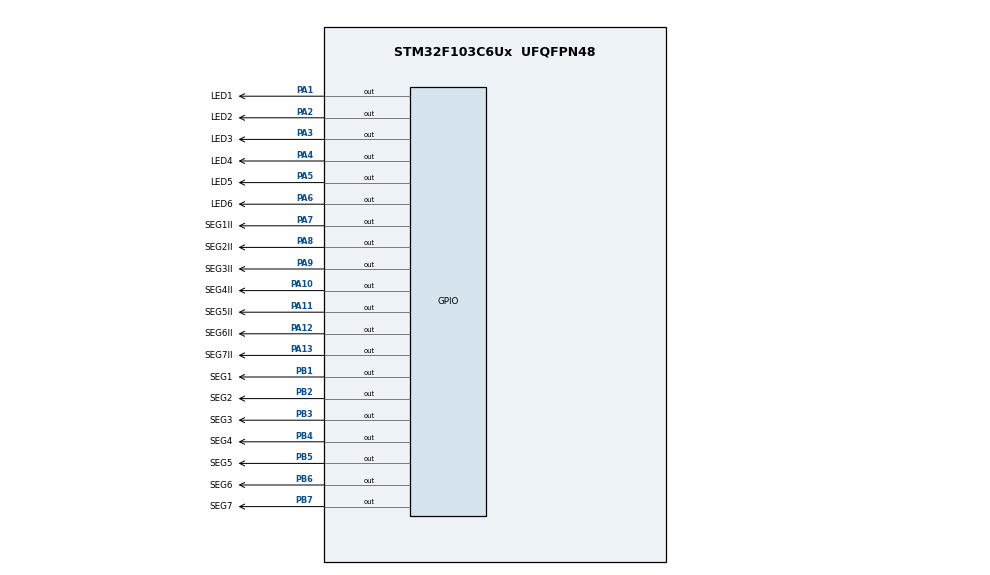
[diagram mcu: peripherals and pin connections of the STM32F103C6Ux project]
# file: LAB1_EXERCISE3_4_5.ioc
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Mcu.Family=STM32F1
Mcu.Name=STM32F103C6Ux
Mcu.Package=UFQFPN48
NVIC.PriorityGroup=NVIC_PRIORITYGROUP_4
PA1.GPIO_Label=LED1
PA1.Signal=GPIO_Output
PA10.GPIO_Label=SEG4II
PA10.Signal=GPIO_Output
PA11.GPIO_Label=SEG5II
PA11.Signal=GPIO_Output
PA12.GPIO_Label=SEG6II
PA12.Signal=GPIO_Output
PA13.GPIO_Label=SEG7II
PA13.Signal=GPIO_Output
PA2.GPIO_Label=LED2
PA2.Signal=GPIO_Output
PA3.GPIO_Label=LED3
PA3.Signal=GPIO_Output
PA4.GPIO_Label=LED4
PA4.Signal=GPIO_Output
PA5.GPIO_Label=LED5
PA5.Signal=GPIO_Output
PA6.GPIO_Label=LED6
PA6.Signal=GPIO_Output
PA7.GPIO_Label=SEG1II
PA7.Signal=GPIO_Output
PA8.GPIO_Label=SEG2II
PA8.Signal=GPIO_Output
PA9.GPIO_Label=SEG3II
PA9.Signal=GPIO_Output
PB1.GPIO_Label=SEG1
PB1.Signal=GPIO_Output
PB2.GPIO_Label=SEG2
PB2.Signal=GPIO_Output
PB3.GPIO_Label=SEG3
PB3.Signal=GPIO_Output
PB4.GPIO_Label=SEG4
PB4.Signal=GPIO_Output
PB5.GPIO_Label=SEG5
PB5.Signal=GPIO_Output
PB6.GPIO_Label=SEG6
PB6.Signal=GPIO_Output
PB7.GPIO_Label=SEG7
PB7.Signal=GPIO_Output
ProjectManager.HeapSize=0x200
ProjectManager.StackSize=0x400
ProjectManager.TargetToolchain=STM32CubeIDE
RCC.APB1Freq_Value=8000000
RCC.APB2Freq_Value=8000000
VP_SYS_VS_ND.Mode=No_Debug
board=custom

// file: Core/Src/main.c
/* USER CODE BEGIN Header */
/**
  ******************************************************************************
  * @file           : main.c
  * @brief          : Main program body
  ******************************************************************************
  * @attention
  *
  * <h2><center>&copy; Copyright (c) 2024 STMicroelectronics.
  * All rights reserved.</center></h2>
  *
  * This software component is licensed by ST under BSD 3-Clause license,
  * the "License"; You may not use this file except in compliance with the
  * License. You may obtain a copy of the License at:
  *                        opensource.org/licenses/BSD-3-Clause
  *
  ******************************************************************************
  */
/* USER CODE END Header */
#include "main.h"

void SystemClock_Config(void);
static void MX_GPIO_Init(void);

/* USER CODE BEGIN 0 */
const uint8_t segDigits[10] = {
    0b01000000, // 0
    0b01111001, // 1
    0b00100100, // 2
    0b00110000, // 3
    0b00011001, // 4
    0b00010010, // 5
    0b00000010, // 6
    0b01111000, // 7
    0b00000000, // 8
    0b00010000  // 9
};
void display7SEG(int num) {
    HAL_GPIO_WritePin(SEG1_GPIO_Port, SEG1_Pin, (segDigits[num] & 0x01) ? 1 : 0);
    HAL_GPIO_WritePin(SEG2_GPIO_Port, SEG2_Pin, (segDigits[num] & 0x02) ? 1 : 0);
    HAL_GPIO_WritePin(SEG3_GPIO_Port, SEG3_Pin, (segDigits[num] & 0x04) ? 1 : 0);
    HAL_GPIO_WritePin(SEG4_GPIO_Port, SEG4_Pin, (segDigits[num] & 0x08) ? 1 : 0);
    HAL_GPIO_WritePin(SEG5_GPIO_Port, SEG5_Pin, (segDigits[num] & 0x10) ? 1 : 0);
    HAL_GPIO_WritePin(SEG6_GPIO_Port, SEG6_Pin, (segDigits[num] & 0x20) ? 1 : 0);
    HAL_GPIO_WritePin(SEG7_GPIO_Port, SEG7_Pin, (segDigits[num] & 0x40) ? 1 : 0);
}
void display7SEGII(int num) {
    HAL_GPIO_WritePin(SEG1II_GPIO_Port, SEG1II_Pin, (segDigits[num] & 0x01) ? 1 : 0);
    HAL_GPIO_WritePin(SEG2II_GPIO_Port, SEG2II_Pin, (segDigits[num] & 0x02) ? 1 : 0);
    HAL_GPIO_WritePin(SEG3II_GPIO_Port, SEG3II_Pin, (segDigits[num] & 0x04) ? 1 : 0);
    HAL_GPIO_WritePin(SEG4II_GPIO_Port, SEG4II_Pin, (segDigits[num] & 0x08) ? 1 : 0);
    HAL_GPIO_WritePin(SEG5II_GPIO_Port, SEG5II_Pin, (segDigits[num] & 0x10) ? 1 : 0);
    HAL_GPIO_WritePin(SEG6II_GPIO_Port, SEG6II_Pin, (segDigits[num] & 0x20) ? 1 : 0);
    HAL_GPIO_WritePin(SEG7II_GPIO_Port, SEG7II_Pin, (segDigits[num] & 0x40) ? 1 : 0);
}

/* USER CODE END 0 */

int main(void)
{

  /* MCU Configuration--------------------------------------------------------*/

  /* Reset of all peripherals, Initializes the Flash interface and the Systick. */
  HAL_Init();

  /* Configure the system clock */
  SystemClock_Config();

  /* Initialize all configured peripherals */
  MX_GPIO_Init();

  /* Infinite loop */
  /* USER CODE BEGIN WHILE */
  int ledStatus = 1;
  int count = 10;
  /*int counter = 0;*/
  int redcounter = 5;
  int greencounter = 3;
  int yellowcounter = 2;
  while (1)
  {
	  switch (ledStatus){
	  case 1:
		  display7SEG(redcounter--);
		  HAL_GPIO_WritePin(LED1_GPIO_Port, LED1_Pin, GPIO_PIN_SET);//red
		  HAL_GPIO_WritePin(LED2_GPIO_Port, LED2_Pin, GPIO_PIN_RESET);//yellow
		  HAL_GPIO_WritePin(LED3_GPIO_Port, LED3_Pin, GPIO_PIN_RESET);//green

		  display7SEGII(greencounter--);
		  HAL_GPIO_WritePin(LED4_GPIO_Port, LED4_Pin, GPIO_PIN_RESET);//red
		  HAL_GPIO_WritePin(LED5_GPIO_Port, LED5_Pin, GPIO_PIN_RESET);//yellow
		  HAL_GPIO_WritePin(LED6_GPIO_Port, LED6_Pin, GPIO_PIN_SET);//green
		  count--;
		  if(count <= 7){
			  ledStatus = 2;
			  greencounter = 3;
		  }

		  break;
	  case 2:
		  display7SEG(redcounter--);
		  HAL_GPIO_WritePin(LED1_GPIO_Port, LED1_Pin, GPIO_PIN_SET);//red
		  HAL_GPIO_WritePin(LED2_GPIO_Port, LED2_Pin, GPIO_PIN_RESET);//yellow
		  HAL_GPIO_WritePin(LED3_GPIO_Port, LED3_Pin, GPIO_PIN_RESET);//green

		  display7SEGII(yellowcounter--);
		  HAL_GPIO_WritePin(LED4_GPIO_Port, LED4_Pin, GPIO_PIN_RESET);//red
	  	  HAL_GPIO_WritePin(LED5_GPIO_Port, LED5_Pin, GPIO_PIN_SET);//yellow
	  	  HAL_GPIO_WritePin(LED6_GPIO_Port, LED6_Pin, GPIO_PIN_RESET);//green
	  	  count--;
	  	  if(count <= 5){
	  		  ledStatus = 3;
	  		  redcounter = 5;
	  		  yellowcounter = 2;
	  	  }
	  	  break;
	  case 3:
		  display7SEG(greencounter--);
	  	  HAL_GPIO_WritePin(LED1_GPIO_Port, LED1_Pin, GPIO_PIN_RESET);//red
	  	  HAL_GPIO_WritePin(LED2_GPIO_Port, LED2_Pin, GPIO_PIN_RESET);//yellow
	  	  HAL_GPIO_WritePin(LED3_GPIO_Port, LED3_Pin, GPIO_PIN_SET);//green

	      display7SEGII(redcounter--);
	  	  HAL_GPIO_WritePin(LED4_GPIO_Port, LED4_Pin, GPIO_PIN_SET);//red
	  	  HAL_GPIO_WritePin(LED5_GPIO_Port, LED5_Pin, GPIO_PIN_RESET);//yellow
	  	  HAL_GPIO_WritePin(LED6_GPIO_Port, LED6_Pin, GPIO_PIN_RESET);//green
	  	  count--;
	  	  if(count <= 2){
	  		  ledStatus = 4;
	  		  greencounter = 3;
	  	  }
	  	  break;
	  case 4:
		  display7SEG(yellowcounter--);
	  	  HAL_GPIO_WritePin(LED1_GPIO_Port, LED1_Pin, GPIO_PIN_RESET);//red
	  	  HAL_GPIO_WritePin(LED2_GPIO_Port, LED2_Pin, GPIO_PIN_SET);//yellow
	  	  HAL_GPIO_WritePin(LED3_GPIO_Port, LED3_Pin, GPIO_PIN_RESET);//green

	  	  display7SEGII(redcounter--);
	  	  HAL_GPIO_WritePin(LED4_GPIO_Port, LED4_Pin, GPIO_PIN_SET);//red
	  	  HAL_GPIO_WritePin(LED5_GPIO_Port, LED5_Pin, GPIO_PIN_RESET);//yellow
	  	  HAL_GPIO_WritePin(LED6_GPIO_Port, LED6_Pin, GPIO_PIN_RESET);//green
	  	  count--;
	  	  if(count <= 0){
	  		  ledStatus = 1;
	  		  count=10;
	  		  redcounter = 5;
	  		  yellowcounter = 2;
	  	  }
	  	  break;
	  }
	  //if(counter >= 10) counter = 0;
	  //display7SEG(counter++);
	  	  HAL_Delay(1000);
    /* USER CODE END WHILE */

  }
}

void SystemClock_Config(void)
{
  RCC_OscInitTypeDef RCC_OscInitStruct = {0};
  RCC_ClkInitTypeDef RCC_ClkInitStruct = {0};

  /** Initializes the RCC Oscillators according to the specified parameters
  * in the RCC_OscInitTypeDef structure.
  */
  RCC_OscInitStruct.OscillatorType = RCC_OSCILLATORTYPE_HSI;
  RCC_OscInitStruct.HSIState = RCC_HSI_ON;
  RCC_OscInitStruct.HSICalibrationValue = RCC_HSICALIBRATION_DEFAULT;
  RCC_OscInitStruct.PLL.PLLState = RCC_PLL_NONE;
  if (HAL_RCC_OscConfig(&RCC_OscInitStruct) != HAL_OK)
  {
    Error_Handler();
  }
  /** Initializes the CPU, AHB and APB buses clocks
  */
  RCC_ClkInitStruct.ClockType = RCC_CLOCKTYPE_HCLK|RCC_CLOCKTYPE_SYSCLK
                              |RCC_CLOCKTYPE_PCLK1|RCC_CLOCKTYPE_PCLK2;
  RCC_ClkInitStruct.SYSCLKSource = RCC_SYSCLKSOURCE_HSI;
  RCC_ClkInitStruct.AHBCLKDivider = RCC_SYSCLK_DIV1;
  RCC_ClkInitStruct.APB1CLKDivider = RCC_HCLK_DIV1;
  RCC_ClkInitStruct.APB2CLKDivider = RCC_HCLK_DIV1;

  if (HAL_RCC_ClockConfig(&RCC_ClkInitStruct, FLASH_LATENCY_0) != HAL_OK)
  {
    Error_Handler();
  }
}

static void MX_GPIO_Init(void)
{
  GPIO_InitTypeDef GPIO_InitStruct = {0};

  /* GPIO Ports Clock Enable */
  __HAL_RCC_GPIOA_CLK_ENABLE();
  __HAL_RCC_GPIOB_CLK_ENABLE();

  /*Configure GPIO pin Output Level */
  HAL_GPIO_WritePin(GPIOA, LED1_Pin|LED2_Pin|LED3_Pin|LED4_Pin
                          |LED5_Pin|LED6_Pin|SEG1II_Pin|SEG2II_Pin
                          |SEG3II_Pin|SEG4II_Pin|SEG5II_Pin|SEG6II_Pin
                          |SEG7II_Pin, GPIO_PIN_RESET);

  /*Configure GPIO pin Output Level */
  HAL_GPIO_WritePin(GPIOB, SEG1_Pin|SEG2_Pin|SEG3_Pin|SEG4_Pin
                          |SEG5_Pin|SEG6_Pin|SEG7_Pin, GPIO_PIN_RESET);

  /*Configure GPIO pins : LED1_Pin LED2_Pin LED3_Pin LED4_Pin
                           LED5_Pin LED6_Pin SEG1II_Pin SEG2II_Pin
                           SEG3II_Pin SEG4II_Pin SEG5II_Pin SEG6II_Pin
                           SEG7II_Pin */
  GPIO_InitStruct.Pin = LED1_Pin|LED2_Pin|LED3_Pin|LED4_Pin
                          |LED5_Pin|LED6_Pin|SEG1II_Pin|SEG2II_Pin
                          |SEG3II_Pin|SEG4II_Pin|SEG5II_Pin|SEG6II_Pin
                          |SEG7II_Pin;
  GPIO_InitStruct.Mode = GPIO_MODE_OUTPUT_PP;
  GPIO_InitStruct.Pull = GPIO_NOPULL;
  GPIO_InitStruct.Speed = GPIO_SPEED_FREQ_LOW;
  HAL_GPIO_Init(GPIOA, &GPIO_InitStruct);

  /*Configure GPIO pins : SEG1_Pin SEG2_Pin SEG3_Pin SEG4_Pin
                           SEG5_Pin SEG6_Pin SEG7_Pin */
  GPIO_InitStruct.Pin = SEG1_Pin|SEG2_Pin|SEG3_Pin|SEG4_Pin
                          |SEG5_Pin|SEG6_Pin|SEG7_Pin;
  GPIO_InitStruct.Mode = GPIO_MODE_OUTPUT_PP;
  GPIO_InitStruct.Pull = GPIO_NOPULL;
  GPIO_InitStruct.Speed = GPIO_SPEED_FREQ_LOW;
  HAL_GPIO_Init(GPIOB, &GPIO_InitStruct);

}

void Error_Handler(void)
{
  __disable_irq();
  while (1)
  {
  }
}

/************************ (C) COPYRIGHT STMicroelectronics *****END OF FILE****/
